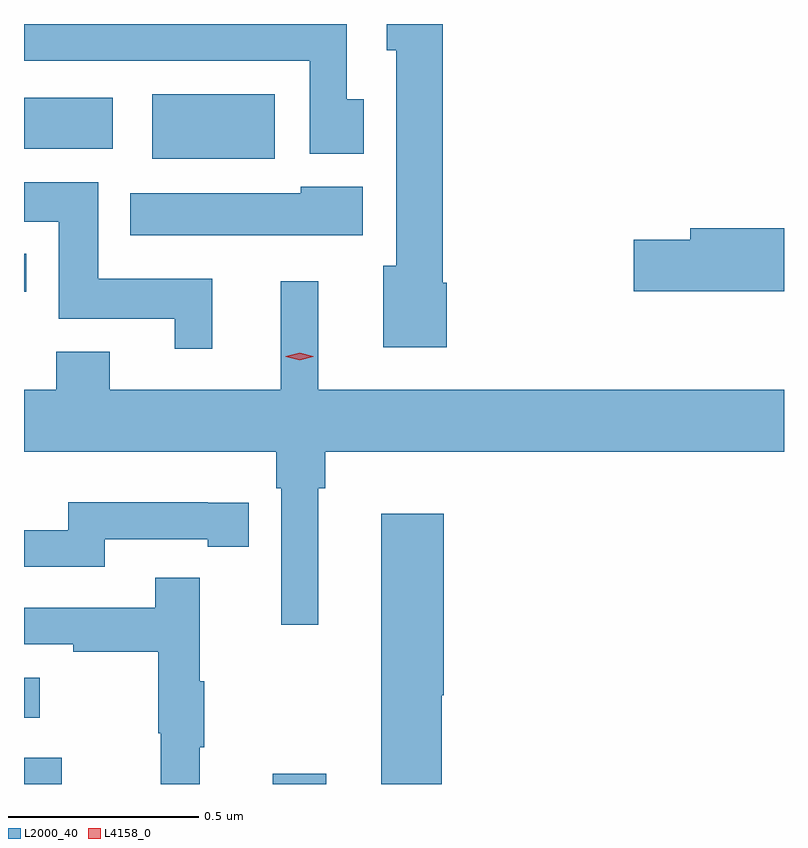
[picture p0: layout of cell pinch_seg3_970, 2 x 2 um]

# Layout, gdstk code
import gdstk
lib = gdstk.Library(unit=1e-6, precision=1e-09)
def R(c, l, rs):  # rectangles x0, y0, x1, y1
    for r in rs: c.add(gdstk.rectangle(r[:2], r[2:], *l))
def P(c, l, *ps):  # polygons
    for p in ps: c.add(gdstk.Polygon(p, *l))
L2000_40 = (2000, 40)
L4158_0 = (4158, 0)

pinch_seg3_970 = lib.new_cell('pinch_seg3_970')
R(pinch_seg3_970, L2000_40, [(408.598,729.346,408.697,729.415), (409.253,729.346,409.393,729.373), (408.598,729.521,408.64,729.625), (408.598,730.641,408.604,730.741), (408.935,730.991,409.258,731.161), (408.598,731.018,408.832,731.152)])
P(pinch_seg3_970, L2000_40, [(409.492,731.148),(409.447,731.148),(409.447,731.346),(408.598,731.346),(408.598,731.249),(409.35,731.249),(409.35,731.004),(409.492,731.004)],
  [(409.71,730.665),(409.7,730.665),(409.7,731.346),(409.553,731.346),(409.553,731.277),(409.577,731.277),(409.577,730.71),(409.544,730.71),(409.544,730.496),(409.71,730.496)],
  [(409.094,730.675),(408.793,730.675),(408.793,730.93),(408.598,730.93),(408.598,730.826),(408.689,730.826),(408.689,730.571),(408.995,730.571),(408.995,730.491),(409.094,730.491)],
  [(409.489,730.918),(409.326,730.918),(409.326,730.9),(408.878,730.9),(408.878,730.79),(409.489,730.79)],
  [(410.598,730.808),(410.351,730.808),(410.351,730.778),(410.202,730.778),(410.202,730.643),(410.598,730.643)],
  [(409.372,730.124),(409.391,730.124),(409.391,730.22),(410.598,730.22),(410.598,730.384),(409.372,730.384),(409.372,730.669),(409.274,730.669),(409.274,730.384),(408.823,730.384),(408.823,730.483),(408.683,730.483),(408.683,730.384),(408.598,730.384),(408.598,730.22),(409.262,730.22),(409.262,730.124),(409.275,730.124),(409.275,729.765),(409.372,729.765)],
  [(408.81,729.99),(409.082,729.99),(409.082,729.97),(409.19,729.97),(409.19,730.086),(409.082,730.086),(409.082,730.087),(408.714,730.087),(408.714,730.014),(408.598,730.014),(408.598,729.918),(408.81,729.918)],
  [(409.697,729.579),(409.702,729.579),(409.702,730.057),(409.538,730.057),(409.538,729.346),(409.697,729.346)],
  [(409.061,729.443),(409.072,729.443),(409.072,729.617),(409.061,729.617),(409.061,729.889),(408.943,729.889),(408.943,729.81),(408.598,729.81),(408.598,729.714),(408.727,729.714),(408.727,729.694),(408.951,729.694),(408.951,729.48),(408.958,729.48),(408.958,729.346),(409.061,729.346)])
P(pinch_seg3_970, L4158_0, [(409.323,730.461),(409.287,730.471),(409.287,730.471),(409.287,730.472),(409.323,730.481),(409.359,730.472),(409.359,730.471),(409.359,730.471)])

lib.write_gds('pinch_seg3_970.gds')
